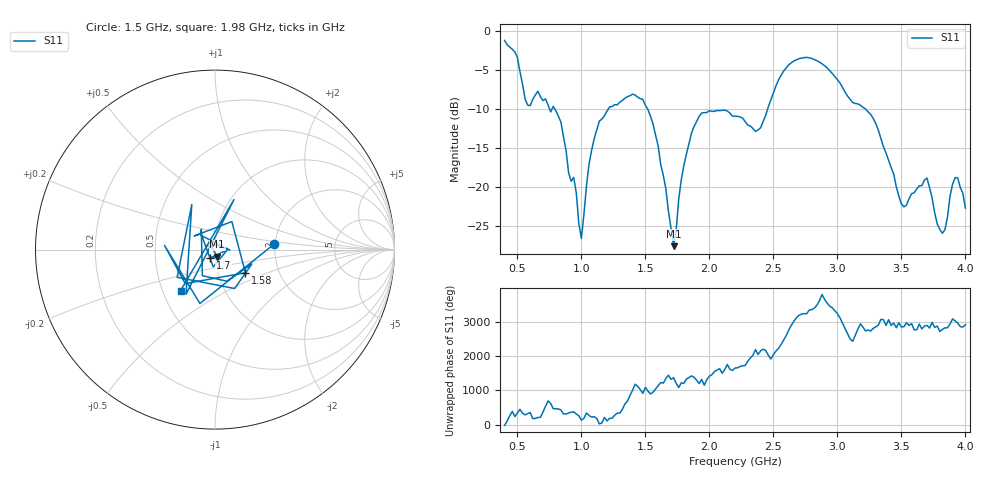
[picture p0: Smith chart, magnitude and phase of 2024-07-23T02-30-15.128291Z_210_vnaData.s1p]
!Created with skrf (http://scikit-rf.org).
# Hz S RI R 50.0
!freq ReS11 ImS11
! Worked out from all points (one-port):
!   181 points, 400 MHz to 4 GHz, reference 50 ohm
!   lowest |S11| = -27.6 dB at 1.72 GHz (marker M1), VSWR 1.09, Z = 51.1 - j4.08 ohm
!   |S11| at or under -10 dB: 790.8 MHz to 1.212 GHz (421.1 MHz wide, 42.1 % of centre); 1.516 GHz to 2.456 GHz (940.2 MHz wide, 47.3 % of centre); 3.217 GHz to end of sweep (the widest 3 of 4)
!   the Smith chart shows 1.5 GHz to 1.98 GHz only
!   S11 on the Smith chart (normalised r, x): 1.5 GHz: 1.98, +0.14; 1.58 GHz: 1.35, -0.37; 1.7 GHz: 0.94, -0.09; 1.98 GHz: 0.62, -0.31
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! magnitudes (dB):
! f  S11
! 400 MHz  -1.3
! 500 MHz  -3.4
! 580 MHz  -9.5
! 660 MHz  -7.8
! 860 MHz  -13.6
! 940 MHz  -18.8
! 1 GHz  -26.6
! 1.1 GHz  -13.8
! 1.3 GHz  -9.2
! 1.5 GHz  -9.6
! 1.58 GHz  -13.4
! 1.7 GHz  -25.3
! 1.72 GHz  -27.6
! 1.76 GHz  -21.6
! 1.86 GHz  -13.1
! 1.98 GHz  -10.5
! 2.2 GHz  -11.0
! 2.4 GHz  -12.4
! 2.66 GHz  -3.9
! 2.88 GHz  -4.3
! 3.1 GHz  -8.8
! 3.28 GHz  -11.3
! 3.5 GHz  -22.2
! 3.56 GHz  -21.5
! 3.7 GHz  -18.9
! 3.82 GHz  -25.9
! 3.92 GHz  -18.8
! 4 GHz  -22.7
